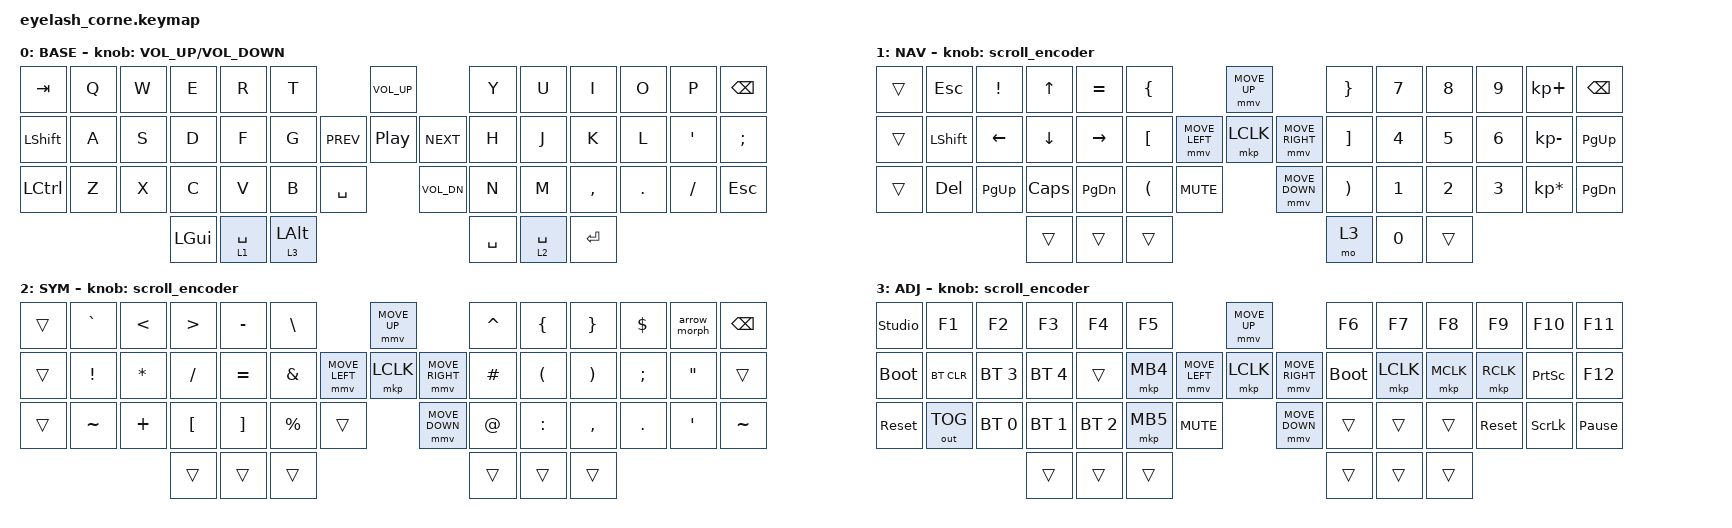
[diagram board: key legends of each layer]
#define ZMK_POINTING_DEFAULT_MOVE_VAL 1200
#define ZMK_POINTING_DEFAULT_SCRL_VAL 25

#include <input/processors.dtsi>
#include <zephyr/dt-bindings/input/input-event-codes.h>
#include <behaviors.dtsi>
#include <dt-bindings/zmk/bt.h>
#include <dt-bindings/zmk/keys.h>
#include <dt-bindings/zmk/outputs.h>
#include <dt-bindings/zmk/pointing.h>
#include <dt-bindings/zmk/rgb.h>

&mmv_input_listener {
    input-processors = <&zip_xy_scaler 2 1>;
};

&msc_input_listener {
    input-processors = <&zip_scroll_scaler 2 1>;
};

&msc {
    acceleration-exponent = <1>;
    time-to-max-speed-ms = <100>;
    delay-ms = <0>;
};

&mmv {
    time-to-max-speed-ms = <500>;
    acceleration-exponent = <1>;
    trigger-period-ms = <16>;
};

&soft_off {
    hold-time-ms = <2000>;
};

 / {
    rgb_encoder: rgb_encoder {
        compatible = "zmk,behavior-sensor-rotate";
        #sensor-binding-cells = <0>;
        bindings = <&rgb_ug RGB_BRI>, <&rgb_ug RGB_BRD>;
    };

    scroll_encoder: scroll_encoder {
        compatible = "zmk,behavior-sensor-rotate";
        #sensor-binding-cells = <0>;
        bindings = <&msc SCRL_DOWN>, <&msc SCRL_UP>;
        tap-ms = <100>;
    };

    combos {
        compatible = "zmk,combos";

        softoff {
            bindings = <&soft_off>;
            key-positions = <1 15 29>;
        };
    };

    macros {
        arrow_thin: arrow_thin {
            compatible = "zmk,behavior-macro";
            label = "ARROW_THIN";
            #binding-cells = <0>;
            bindings =
                <&kp MINUS>, <&kp MINUS>, <&kp GT>;
        };

        arrow_thick: arrow_thick {
            compatible = "zmk,behavior-macro";
            label = "ARROW_THICK";
            #binding-cells = <0>;
            bindings =
                <&kp EQUAL>, <&kp EQUAL>, <&kp GT>;
        };
    };

    behaviors {
        arrow_morph: arrow_morph {
            compatible = "zmk,behavior-mod-morph";
            label = "ARROW_MORPH";
            #binding-cells = <0>;
            bindings = <&arrow_thin &arrow_thick>;
            mods = <(MOD_LSFT | MOD_RSFT)>;
        };
    };

    keymap {
        compatible = "zmk,keymap";

        default_layer {
            label = "BASE";
            display-name = "BASE";
            bindings = <
&kp TAB     &kp Q      &kp W      &kp E       &kp R       &kp T                            &kp C_VOL_UP                &kp Y           &kp U        &kp I       &kp O      &kp P   &kp BSPC
&kp LSHIFT  &kp A      &kp S      &kp D       &kp F       &kp G                 &kp C_PREV &kp C_PLAY_PAUSE &kp C_NEXT &kp H           &kp J        &kp K       &kp L      &kp SQT      &kp SEMI
&kp LCTRL   &kp Z      &kp X      &kp C       &kp V       &kp B     &kp SPACE              &kp C_VOL_DN                &kp N           &kp M        &kp COMMA   &kp DOT    &kp FSLH   &kp ESC
                                  &kp LGUI    &lt 1 SPACE   &lt 3 LALT                                                  &kp SPACE          &lt 2 SPACE    &kp RET
            >;

            sensor-bindings = <&inc_dec_kp C_VOLUME_UP C_VOLUME_DOWN>;
        };

        nav_layer {
            label = "NAV";
            display-name = "NAV";
            bindings = <
&trans &kp ESC   &kp EXCL  &kp UP   &kp EQUAL &kp LBRC                           &mmv MOVE_UP                   &kp RBRC &kp N7 &kp N8 &kp N9 &kp KP_PLUS     &kp BSPC
&trans &kp LSHFT &kp LEFT  &kp DOWN &kp RIGHT &kp LBKT            &mmv MOVE_LEFT &mkp LCLK      &mmv MOVE_RIGHT &kp RBKT &kp N4 &kp N5 &kp N6 &kp KP_MINUS    &kp PG_UP
&trans &kp DEL   &kp PG_UP &kp CAPS &kp PG_DN &kp LPAR &kp C_MUTE                &mmv MOVE_DOWN                 &kp RPAR &kp N1 &kp N2 &kp N3 &kp KP_MULTIPLY &kp PG_DN
                           &trans   &trans    &trans                                                            &mo 3    &kp N0 &trans
            >;

            sensor-bindings = <&scroll_encoder>;
        };

        sim_layer {
            label = "SYM";
            display-name = "SYM";
            bindings = <
&trans &kp GRAVE &kp LT   &kp GT            &kp MINUS        &kp BACKSLASH              &mmv MOVE_UP        &kp CARET &kp LBRC &kp RBRC &kp DOLLAR &arrow_morph &kp BSPC
&trans &kp EXCL  &kp STAR &kp SLASH         &kp EQUAL        &kp AMPERSAND  &mmv MOVE_LEFT &mkp LCLK &mmv MOVE_RIGHT &kp HASH &kp LPAR &kp RPAR &kp SEMI &kp DQT &trans
&trans &kp TILDE &kp PLUS &kp LEFT_BRACKET  &kp RIGHT_BRACKET &kp PERCENT &trans           &mmv MOVE_DOWN     &kp AT   &kp COLON &kp COMMA &kp DOT &kp APOS &kp TILDE
                              &trans &trans &trans                                     &trans &trans &trans
            >;

            sensor-bindings = <&scroll_encoder>;
        };

        adj_layer {
            label = "ADJ";
            display-name = "ADJ";
            bindings = <
&studio_unlock &kp F1 &kp F2 &kp F3 &kp F4 &kp F5                    &mmv MOVE_UP        &kp F6 &kp F7 &kp F8 &kp F9 &kp F10 &kp F11
&bootloader    &bt BT_CLR &bt BT_SEL 3 &bt BT_SEL 4 &trans &mkp MB4      &mmv MOVE_LEFT &mkp LCLK &mmv MOVE_RIGHT &bootloader &mkp LCLK &mkp MCLK &mkp RCLK &kp PRINTSCREEN &kp F12
&sys_reset     &out OUT_TOG &bt BT_SEL 0 &bt BT_SEL 1 &bt BT_SEL 2 &mkp MB5 &kp C_MUTE         &mmv MOVE_DOWN     &trans &trans &trans &sys_reset &kp SCROLLLOCK &kp PAUSE_BREAK
                             &trans &trans &trans                                    &trans &trans &trans
            >;

            sensor-bindings = <&scroll_encoder>;
        };
    };
};
